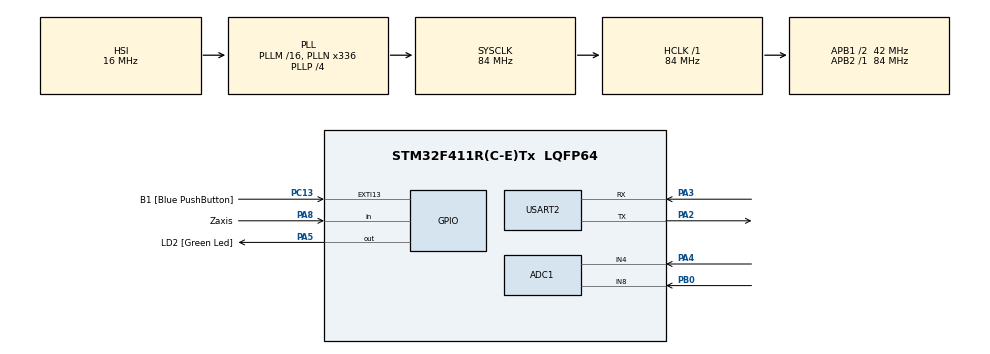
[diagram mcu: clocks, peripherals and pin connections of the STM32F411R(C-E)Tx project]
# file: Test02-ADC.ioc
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ADC1.Channel-4\#ChannelRegularConversion=ADC_CHANNEL_4
ADC1.Channel-5\#ChannelRegularConversion=ADC_CHANNEL_8
ADC1.ContinuousConvMode=DISABLE
ADC1.DMAContinuousRequests=ENABLE
ADC1.DiscontinuousConvMode=ENABLE
ADC1.EOCSelection=ADC_EOC_SEQ_CONV
ADC1.ExternalTrigConv=ADC_EXTERNALTRIGCONV_T3_TRGO
ADC1.ExternalTrigConvEdge=ADC_EXTERNALTRIGCONVEDGE_FALLING
ADC1.NbrOfConversion=2
ADC1.NbrOfConversionFlag=1
ADC1.NbrOfDiscConversion=1
ADC1.Rank-4\#ChannelRegularConversion=1
ADC1.Rank-5\#ChannelRegularConversion=2
ADC1.SamplingTime-4\#ChannelRegularConversion=ADC_SAMPLETIME_3CYCLES
ADC1.SamplingTime-5\#ChannelRegularConversion=ADC_SAMPLETIME_3CYCLES
ADC1.ScanConvMode=ENABLE
ADC1.master=1
Dma.ADC1.0.Direction=DMA_PERIPH_TO_MEMORY
Dma.ADC1.0.FIFOMode=DMA_FIFOMODE_DISABLE
Dma.ADC1.0.Instance=DMA2_Stream0
Dma.ADC1.0.MemDataAlignment=DMA_MDATAALIGN_HALFWORD
Dma.ADC1.0.MemInc=DMA_MINC_ENABLE
Dma.ADC1.0.Mode=DMA_CIRCULAR
Dma.ADC1.0.PeriphDataAlignment=DMA_PDATAALIGN_HALFWORD
Dma.ADC1.0.PeriphInc=DMA_PINC_DISABLE
Dma.ADC1.0.Priority=DMA_PRIORITY_LOW
Dma.Request0=ADC1
Mcu.Family=STM32F4
Mcu.Name=STM32F411R(C-E)Tx
Mcu.Package=LQFP64
NVIC.DMA2_Stream0_IRQn=true\:0\:0\:false\:false\:true\:false\:true\:true
NVIC.PriorityGroup=NVIC_PRIORITYGROUP_0
PA13.GPIO_Label=TMS
PA13.Mode=Serial_Wire
PA13.Signal=SYS_JTMS-SWDIO
PA14.GPIO_Label=TCK
PA14.Mode=Serial_Wire
PA14.Signal=SYS_JTCK-SWCLK
PA2.Mode=Asynchronous
PA2.Signal=USART2_TX
PA3.Mode=Asynchronous
PA3.Signal=USART2_RX
PA4.Signal=ADCx_IN4
PA5.GPIO_Label=LD2 [Green Led]
PA5.Signal=GPIO_Output
PA8.GPIO_Label=Zaxis
PA8.GPIO_PuPd=GPIO_PULLUP
PA8.Signal=GPIO_Input
PB0.Signal=ADCx_IN8
PB3.GPIO_Label=SWO
PB3.Signal=SYS_JTDO-SWO
PC13-ANTI_TAMP.GPIO_Label=B1 [Blue PushButton]
PC13-ANTI_TAMP.GPIO_ModeDefaultEXTI=GPIO_MODE_IT_FALLING
PC13-ANTI_TAMP.Signal=GPXTI13
PC14-OSC32_IN.Mode=LSE-External-Oscillator
PC14-OSC32_IN.Signal=RCC_OSC32_IN
PC15-OSC32_OUT.Mode=LSE-External-Oscillator
PC15-OSC32_OUT.Signal=RCC_OSC32_OUT
PH0\ -\ OSC_IN.Mode=HSE-External-Clock-Source
PH0\ -\ OSC_IN.Signal=RCC_OSC_IN
PH1\ -\ OSC_OUT.Mode=HSE-External-Clock-Source
PH1\ -\ OSC_OUT.Signal=RCC_OSC_OUT
ProjectManager.HeapSize=0x200
ProjectManager.StackSize=0x400
ProjectManager.TargetToolchain=STM32CubeIDE
RCC.48MHZClocksFreq_Value=84000000
RCC.AHBFreq_Value=84000000
RCC.APB1CLKDivider=RCC_HCLK_DIV2
RCC.APB1Freq_Value=42000000
RCC.APB1TimFreq_Value=84000000
RCC.APB2Freq_Value=84000000
RCC.APB2TimFreq_Value=84000000
RCC.CortexFreq_Value=84000000
RCC.FLatency-AdvancedSettings=FLASH_LATENCY_2
RCC.HCLKFreq_Value=84000000
RCC.HSE_VALUE=8000000
RCC.HSI_VALUE=16000000
RCC.PLLN=336
RCC.PLLP=RCC_PLLP_DIV4
RCC.SYSCLKFreq_VALUE=84000000
RCC.SYSCLKSource=RCC_SYSCLKSOURCE_PLLCLK
RCC.VCOOutputFreq_Value=336000000
SH.ADCx_IN4.0=ADC1_IN4,IN4
SH.ADCx_IN8.0=ADC1_IN8,IN8
TIM3.Period=5000-1
TIM3.Prescaler=8400-1
TIM3.TIM_MasterOutputTrigger=TIM_TRGO_UPDATE
USART2.VirtualMode=VM_ASYNC
VP_TIM3_VS_ClockSourceINT.Mode=Internal
board=NUCLEO-F411RE

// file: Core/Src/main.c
/* USER CODE BEGIN Header */
/**
  ******************************************************************************
  * @file           : main.c
  * @brief          : Main program body
  ******************************************************************************
  * @attention
  *
  * Copyright (c) 2023 STMicroelectronics.
  * All rights reserved.
  *
  * This software is licensed under terms that can be found in the LICENSE file
  * in the root directory of this software component.
  * If no LICENSE file comes with this software, it is provided AS-IS.
  *
  ******************************************************************************
  */
/* USER CODE END Header */
#include "main.h"

ADC_HandleTypeDef hadc1;
DMA_HandleTypeDef hdma_adc1;

TIM_HandleTypeDef htim3;

UART_HandleTypeDef huart2;

/* USER CODE BEGIN PV */
#include "../../../myLib/myLib.c"
/* USER CODE END PV */

void SystemClock_Config(void);
static void MX_GPIO_Init(void);
static void MX_DMA_Init(void);
static void MX_ADC1_Init(void);
static void MX_USART2_UART_Init(void);
static void MX_TIM3_Init(void);

/* USER CODE BEGIN 0 */
void myDelay(int ms)
{
	for(int j=0; j<=ms; j++)
		for(int i=0;i<500;i++)
			noOp();
}
int GetAdcValue()
{
	HAL_ADC_Start(&hadc1);                      // start sampling
	HAL_ADC_PollForConversion(&hadc1, 100);     // wait
	int val = HAL_ADC_GetValue(&hadc1);         // get
	return val;
}
short dValue[2]; // char(1) int(4) long(4)
int xValue = -1;
int yValue = -1;
int n = 0;
void noOp() {}

//void HAL_ADC_ConvCpltCallback(ADC_HandleTypeDef *hadc) //1 time
//{
////	int Value = HAL_ADC_GetValue(&hadc1);
////	if(n==0) { xValue = Value; n++; }
////	else
////	{
////		yValue = Value; n=0;
////		printf("(intr)X Value : %d\r\n", xValue);
////		printf("(intr)Y Value : %d\r\n", yValue);
////		printf("(intr)Z Value : %d\r\n\n", HAL_GPIO_ReadPin(Zaxis_GPIO_Port, Zaxis_Pin));
////	}
////	myDelay(1000);
////	HAL_ADC_Start_IT(&hadc1);
//}
/* USER CODE END 0 */

int main(void)
{

  /* MCU Configuration--------------------------------------------------------*/

  /* Reset of all peripherals, Initializes the Flash interface and the Systick. */
  HAL_Init();

  /* Configure the system clock */
  SystemClock_Config();

  /* Initialize all configured peripherals */
  MX_GPIO_Init();
  MX_DMA_Init();
  MX_ADC1_Init();
  MX_USART2_UART_Init();
  MX_TIM3_Init();
  /* USER CODE BEGIN 2 */
  //HAL_TIM_Base_Start(&htim2);

  printf("\033[1J\033[1;1HProgram Restart\r\n");

  HAL_TIM_Base_Start(&htim3);
//  HAL_ADC_Start_IT(&hadc1);
  HAL_ADC_Start_DMA(&hadc1, (int *)dValue, 2);
  printf("ADC DMA Started\r\n");

//  htim2.Instance->CNT=0;
//  for(int i=0;i<10000;i++) noOp();
//  int tt = htim2.Instance->CNT;
//
//  printf("noOp function calling time : %d\r\n", tt);

  /* USER CODE END 2 */

  /* Infinite loop */
  while (1)
  {

    /* USER CODE BEGIN 3 */
	  printf("X Value : %d\r\n", xValue);
	  printf("Y Value : %d\r\n", yValue);
	  printf("Z Value : %d\r\n\n", HAL_GPIO_ReadPin(Zaxis_GPIO_Port, Zaxis_Pin));
	  HAL_Delay(500);
  }
  /* USER CODE END 3 */
}

void SystemClock_Config(void)
{
  RCC_OscInitTypeDef RCC_OscInitStruct = {0};
  RCC_ClkInitTypeDef RCC_ClkInitStruct = {0};

  /** Configure the main internal regulator output voltage
  */
  __HAL_RCC_PWR_CLK_ENABLE();
  __HAL_PWR_VOLTAGESCALING_CONFIG(PWR_REGULATOR_VOLTAGE_SCALE1);

  /** Initializes the RCC Oscillators according to the specified parameters
  * in the RCC_OscInitTypeDef structure.
  */
  RCC_OscInitStruct.OscillatorType = RCC_OSCILLATORTYPE_HSI;
  RCC_OscInitStruct.HSIState = RCC_HSI_ON;
  RCC_OscInitStruct.HSICalibrationValue = RCC_HSICALIBRATION_DEFAULT;
  RCC_OscInitStruct.PLL.PLLState = RCC_PLL_ON;
  RCC_OscInitStruct.PLL.PLLSource = RCC_PLLSOURCE_HSI;
  RCC_OscInitStruct.PLL.PLLM = 16;
  RCC_OscInitStruct.PLL.PLLN = 336;
  RCC_OscInitStruct.PLL.PLLP = RCC_PLLP_DIV4;
  RCC_OscInitStruct.PLL.PLLQ = 4;
  if (HAL_RCC_OscConfig(&RCC_OscInitStruct) != HAL_OK)
  {
    Error_Handler();
  }

  /** Initializes the CPU, AHB and APB buses clocks
  */
  RCC_ClkInitStruct.ClockType = RCC_CLOCKTYPE_HCLK|RCC_CLOCKTYPE_SYSCLK
                              |RCC_CLOCKTYPE_PCLK1|RCC_CLOCKTYPE_PCLK2;
  RCC_ClkInitStruct.SYSCLKSource = RCC_SYSCLKSOURCE_PLLCLK;
  RCC_ClkInitStruct.AHBCLKDivider = RCC_SYSCLK_DIV1;
  RCC_ClkInitStruct.APB1CLKDivider = RCC_HCLK_DIV2;
  RCC_ClkInitStruct.APB2CLKDivider = RCC_HCLK_DIV1;

  if (HAL_RCC_ClockConfig(&RCC_ClkInitStruct, FLASH_LATENCY_2) != HAL_OK)
  {
    Error_Handler();
  }
}

static void MX_ADC1_Init(void)
{

  ADC_ChannelConfTypeDef sConfig = {0};

  /** Configure the global features of the ADC (Clock, Resolution, Data Alignment and number of conversion)
  */
  hadc1.Instance = ADC1;
  hadc1.Init.ClockPrescaler = ADC_CLOCK_SYNC_PCLK_DIV4;
  hadc1.Init.Resolution = ADC_RESOLUTION_12B;
  hadc1.Init.ScanConvMode = ENABLE;
  hadc1.Init.ContinuousConvMode = DISABLE;
  hadc1.Init.DiscontinuousConvMode = ENABLE;
  hadc1.Init.NbrOfDiscConversion = 1;
  hadc1.Init.ExternalTrigConvEdge = ADC_EXTERNALTRIGCONVEDGE_FALLING;
  hadc1.Init.ExternalTrigConv = ADC_EXTERNALTRIGCONV_T3_TRGO;
  hadc1.Init.DataAlign = ADC_DATAALIGN_RIGHT;
  hadc1.Init.NbrOfConversion = 2;
  hadc1.Init.DMAContinuousRequests = ENABLE;
  hadc1.Init.EOCSelection = ADC_EOC_SEQ_CONV;
  if (HAL_ADC_Init(&hadc1) != HAL_OK)
  {
    Error_Handler();
  }

  /** Configure for the selected ADC regular channel its corresponding rank in the sequencer and its sample time.
  */
  sConfig.Channel = ADC_CHANNEL_4;
  sConfig.Rank = 1;
  sConfig.SamplingTime = ADC_SAMPLETIME_3CYCLES;
  if (HAL_ADC_ConfigChannel(&hadc1, &sConfig) != HAL_OK)
  {
    Error_Handler();
  }

  /** Configure for the selected ADC regular channel its corresponding rank in the sequencer and its sample time.
  */
  sConfig.Channel = ADC_CHANNEL_8;
  sConfig.Rank = 2;
  if (HAL_ADC_ConfigChannel(&hadc1, &sConfig) != HAL_OK)
  {
    Error_Handler();
  }

}

static void MX_TIM3_Init(void)
{

  TIM_ClockConfigTypeDef sClockSourceConfig = {0};
  TIM_MasterConfigTypeDef sMasterConfig = {0};

  htim3.Instance = TIM3;
  htim3.Init.Prescaler = 8400-1;
  htim3.Init.CounterMode = TIM_COUNTERMODE_UP;
  htim3.Init.Period = 5000-1;
  htim3.Init.ClockDivision = TIM_CLOCKDIVISION_DIV1;
  htim3.Init.AutoReloadPreload = TIM_AUTORELOAD_PRELOAD_DISABLE;
  if (HAL_TIM_Base_Init(&htim3) != HAL_OK)
  {
    Error_Handler();
  }
  sClockSourceConfig.ClockSource = TIM_CLOCKSOURCE_INTERNAL;
  if (HAL_TIM_ConfigClockSource(&htim3, &sClockSourceConfig) != HAL_OK)
  {
    Error_Handler();
  }
  sMasterConfig.MasterOutputTrigger = TIM_TRGO_UPDATE;
  sMasterConfig.MasterSlaveMode = TIM_MASTERSLAVEMODE_DISABLE;
  if (HAL_TIMEx_MasterConfigSynchronization(&htim3, &sMasterConfig) != HAL_OK)
  {
    Error_Handler();
  }

}

static void MX_USART2_UART_Init(void)
{

  huart2.Instance = USART2;
  huart2.Init.BaudRate = 115200;
  huart2.Init.WordLength = UART_WORDLENGTH_8B;
  huart2.Init.StopBits = UART_STOPBITS_1;
  huart2.Init.Parity = UART_PARITY_NONE;
  huart2.Init.Mode = UART_MODE_TX_RX;
  huart2.Init.HwFlowCtl = UART_HWCONTROL_NONE;
  huart2.Init.OverSampling = UART_OVERSAMPLING_16;
  if (HAL_UART_Init(&huart2) != HAL_OK)
  {
    Error_Handler();
  }

}

static void MX_DMA_Init(void)
{

  /* DMA controller clock enable */
  __HAL_RCC_DMA2_CLK_ENABLE();

  /* DMA interrupt init */
  /* DMA2_Stream0_IRQn interrupt configuration */
  HAL_NVIC_SetPriority(DMA2_Stream0_IRQn, 0, 0);
  HAL_NVIC_EnableIRQ(DMA2_Stream0_IRQn);

}

static void MX_GPIO_Init(void)
{
  GPIO_InitTypeDef GPIO_InitStruct = {0};

  /* GPIO Ports Clock Enable */
  __HAL_RCC_GPIOC_CLK_ENABLE();
  __HAL_RCC_GPIOH_CLK_ENABLE();
  __HAL_RCC_GPIOA_CLK_ENABLE();
  __HAL_RCC_GPIOB_CLK_ENABLE();

  /*Configure GPIO pin Output Level */
  HAL_GPIO_WritePin(LD2_GPIO_Port, LD2_Pin, GPIO_PIN_RESET);

  /*Configure GPIO pin : B1_Pin */
  GPIO_InitStruct.Pin = B1_Pin;
  GPIO_InitStruct.Mode = GPIO_MODE_IT_FALLING;
  GPIO_InitStruct.Pull = GPIO_NOPULL;
  HAL_GPIO_Init(B1_GPIO_Port, &GPIO_InitStruct);

  /*Configure GPIO pin : LD2_Pin */
  GPIO_InitStruct.Pin = LD2_Pin;
  GPIO_InitStruct.Mode = GPIO_MODE_OUTPUT_PP;
  GPIO_InitStruct.Pull = GPIO_NOPULL;
  GPIO_InitStruct.Speed = GPIO_SPEED_FREQ_LOW;
  HAL_GPIO_Init(LD2_GPIO_Port, &GPIO_InitStruct);

  /*Configure GPIO pin : Zaxis_Pin */
  GPIO_InitStruct.Pin = Zaxis_Pin;
  GPIO_InitStruct.Mode = GPIO_MODE_INPUT;
  GPIO_InitStruct.Pull = GPIO_PULLUP;
  HAL_GPIO_Init(Zaxis_GPIO_Port, &GPIO_InitStruct);

}

void Error_Handler(void)
{
  __disable_irq();
  while (1)
  {
  }
}
